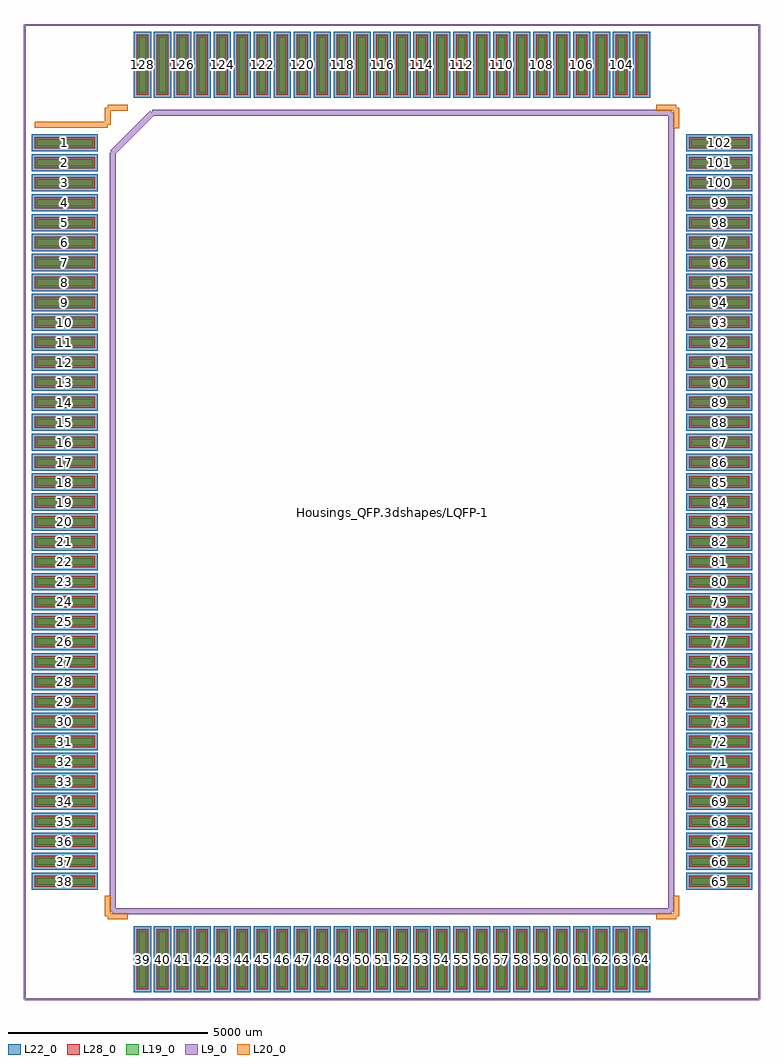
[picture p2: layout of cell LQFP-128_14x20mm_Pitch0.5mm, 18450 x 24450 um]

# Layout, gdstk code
import gdstk
lib = gdstk.Library(unit=1e-6, precision=1e-09)
def R(c, l, rs):  # rectangles x0, y0, x1, y1
    for r in rs: c.add(gdstk.rectangle(r[:2], r[2:], *l))
def A(c, l, x, y, w, h, nx, ny, dx, dy):  # array of equal rectangles
    R(c, l, [(x+i*dx, y+j*dy, x+i*dx+w, y+j*dy+h) for i in range(nx) for j in range(ny)])
L9_0 = (9, 0)
L19_0 = (19, 0)
L20_0 = (20, 0)
L22_0 = (22, 0)
L28_0 = (28, 0)

lqfp_128_14x20mm_pitch0_ = lib.new_cell('LQFP-128_14x20mm_Pitch0.5mm')
A(lqfp_128_14x20mm_pitch0_, L19_0, -6340, -11900, 180, 1400, 26, 2, 500, 22400)
A(lqfp_128_14x20mm_pitch0_, L19_0, -8900, -9340, 1400, 180, 1, 38, 0, 500)
A(lqfp_128_14x20mm_pitch0_, L19_0, 7500, -9340, 1400, 180, 1, 38, 0, 500)
A(lqfp_128_14x20mm_pitch0_, L22_0, -6465, -12025, 430, 1650, 26, 2, 500, 22400)
A(lqfp_128_14x20mm_pitch0_, L22_0, -9025, -9465, 1650, 430, 1, 38, 0, 500)
A(lqfp_128_14x20mm_pitch0_, L22_0, 7375, -9465, 1650, 430, 1, 38, 0, 500)
A(lqfp_128_14x20mm_pitch0_, L28_0, -6390, -11950, 280, 1500, 26, 2, 500, 22400)
A(lqfp_128_14x20mm_pitch0_, L28_0, -8950, -9390, 1500, 280, 1, 38, 0, 500)
A(lqfp_128_14x20mm_pitch0_, L28_0, 7450, -9390, 1500, 280, 1, 38, 0, 500)
lqfp_128_14x20mm_pitch0_.add(gdstk.FlexPath([(-7125,9700),(-8950,9700)], 149.998, ends="flush", simple_path=True, layer=20, datatype=0))  # L20_0
lqfp_128_14x20mm_pitch0_.add(gdstk.FlexPath([(7125,10125),(6615,10125)], 149.998, ends="flush", simple_path=True, layer=20, datatype=0))  # L20_0
lqfp_128_14x20mm_pitch0_.add(gdstk.FlexPath([(7125,-10125),(6615,-10125)], 149.998, ends="flush", simple_path=True, layer=20, datatype=0))  # L20_0
lqfp_128_14x20mm_pitch0_.add(gdstk.FlexPath([(-7125,-10125),(-6615,-10125)], 149.998, ends="flush", simple_path=True, layer=20, datatype=0))  # L20_0
lqfp_128_14x20mm_pitch0_.add(gdstk.FlexPath([(-7125,10125),(-6615,10125)], 149.998, ends="flush", simple_path=True, layer=20, datatype=0))  # L20_0
lqfp_128_14x20mm_pitch0_.add(gdstk.FlexPath([(-7125,-10125),(-7125,-9615)], 149.998, ends="flush", simple_path=True, layer=20, datatype=0))  # L20_0
lqfp_128_14x20mm_pitch0_.add(gdstk.FlexPath([(7125,-10125),(7125,-9615)], 149.998, ends="flush", simple_path=True, layer=20, datatype=0))  # L20_0
lqfp_128_14x20mm_pitch0_.add(gdstk.FlexPath([(7125,10125),(7125,9615)], 149.998, ends="flush", simple_path=True, layer=20, datatype=0))  # L20_0
lqfp_128_14x20mm_pitch0_.add(gdstk.FlexPath([(-7125,10125),(-7125,9700)], 149.998, ends="flush", simple_path=True, layer=20, datatype=0))  # L20_0
lqfp_128_14x20mm_pitch0_.add(gdstk.FlexPath([(-9200,-12200),(9200,-12200)], 50, ends="flush", simple_path=True, layer=9, datatype=0))  # L9_0
lqfp_128_14x20mm_pitch0_.add(gdstk.FlexPath([(-9200,12200),(9200,12200)], 50, ends="flush", simple_path=True, layer=9, datatype=0))  # L9_0
lqfp_128_14x20mm_pitch0_.add(gdstk.FlexPath([(9200,12200),(9200,-12200)], 50, ends="flush", simple_path=True, layer=9, datatype=0))  # L9_0
lqfp_128_14x20mm_pitch0_.add(gdstk.FlexPath([(-9200,12200),(-9200,-12200)], 50, ends="flush", simple_path=True, layer=9, datatype=0))  # L9_0
lqfp_128_14x20mm_pitch0_.add(gdstk.FlexPath([(-7000,9000),(-6000,10000)], 149.998, ends="flush", simple_path=True, layer=9, datatype=0))  # L9_0
lqfp_128_14x20mm_pitch0_.add(gdstk.FlexPath([(-7000,-10000),(-7000,9000)], 149.998, ends="flush", simple_path=True, layer=9, datatype=0))  # L9_0
lqfp_128_14x20mm_pitch0_.add(gdstk.FlexPath([(7000,-10000),(-7000,-10000)], 149.998, ends="flush", simple_path=True, layer=9, datatype=0))  # L9_0
lqfp_128_14x20mm_pitch0_.add(gdstk.FlexPath([(7000,10000),(7000,-10000)], 149.998, ends="flush", simple_path=True, layer=9, datatype=0))  # L9_0
lqfp_128_14x20mm_pitch0_.add(gdstk.FlexPath([(-6000,10000),(7000,10000)], 149.998, ends="flush", simple_path=True, layer=9, datatype=0))  # L9_0
lqfp_128_14x20mm_pitch0_.add(gdstk.Label('Housings_QFP.3dshapes/LQFP-128_14x20mm_Pitch0.5mm.wrl', (0,0), layer=12, texttype=0))
lqfp_128_14x20mm_pitch0_.add(gdstk.Label('128', (-6250,11200), layer=28, texttype=0))
lqfp_128_14x20mm_pitch0_.add(gdstk.Label('127', (-5750,11200), layer=28, texttype=0))
lqfp_128_14x20mm_pitch0_.add(gdstk.Label('126', (-5250,11200), layer=28, texttype=0))
lqfp_128_14x20mm_pitch0_.add(gdstk.Label('125', (-4750,11200), layer=28, texttype=0))
lqfp_128_14x20mm_pitch0_.add(gdstk.Label('124', (-4250,11200), layer=28, texttype=0))
lqfp_128_14x20mm_pitch0_.add(gdstk.Label('123', (-3750,11200), layer=28, texttype=0))
lqfp_128_14x20mm_pitch0_.add(gdstk.Label('122', (-3250,11200), layer=28, texttype=0))
lqfp_128_14x20mm_pitch0_.add(gdstk.Label('121', (-2750,11200), layer=28, texttype=0))
lqfp_128_14x20mm_pitch0_.add(gdstk.Label('120', (-2250,11200), layer=28, texttype=0))
lqfp_128_14x20mm_pitch0_.add(gdstk.Label('119', (-1750,11200), layer=28, texttype=0))
lqfp_128_14x20mm_pitch0_.add(gdstk.Label('118', (-1250,11200), layer=28, texttype=0))
lqfp_128_14x20mm_pitch0_.add(gdstk.Label('117', (-750,11200), layer=28, texttype=0))
lqfp_128_14x20mm_pitch0_.add(gdstk.Label('116', (-250,11200), layer=28, texttype=0))
lqfp_128_14x20mm_pitch0_.add(gdstk.Label('115', (250,11200), layer=28, texttype=0))
lqfp_128_14x20mm_pitch0_.add(gdstk.Label('114', (750,11200), layer=28, texttype=0))
lqfp_128_14x20mm_pitch0_.add(gdstk.Label('113', (1250,11200), layer=28, texttype=0))
lqfp_128_14x20mm_pitch0_.add(gdstk.Label('112', (1750,11200), layer=28, texttype=0))
lqfp_128_14x20mm_pitch0_.add(gdstk.Label('111', (2250,11200), layer=28, texttype=0))
lqfp_128_14x20mm_pitch0_.add(gdstk.Label('110', (2750,11200), layer=28, texttype=0))
lqfp_128_14x20mm_pitch0_.add(gdstk.Label('109', (3250,11200), layer=28, texttype=0))
lqfp_128_14x20mm_pitch0_.add(gdstk.Label('108', (3750,11200), layer=28, texttype=0))
lqfp_128_14x20mm_pitch0_.add(gdstk.Label('107', (4250,11200), layer=28, texttype=0))
lqfp_128_14x20mm_pitch0_.add(gdstk.Label('106', (4750,11200), layer=28, texttype=0))
lqfp_128_14x20mm_pitch0_.add(gdstk.Label('105', (5250,11200), layer=28, texttype=0))
lqfp_128_14x20mm_pitch0_.add(gdstk.Label('104', (5750,11200), layer=28, texttype=0))
lqfp_128_14x20mm_pitch0_.add(gdstk.Label('103', (6250,11200), layer=28, texttype=0))
lqfp_128_14x20mm_pitch0_.add(gdstk.Label('102', (8200,9250), layer=28, texttype=0))
lqfp_128_14x20mm_pitch0_.add(gdstk.Label('101', (8200,8750), layer=28, texttype=0))
lqfp_128_14x20mm_pitch0_.add(gdstk.Label('100', (8200,8250), layer=28, texttype=0))
lqfp_128_14x20mm_pitch0_.add(gdstk.Label('99', (8200,7750), layer=28, texttype=0))
lqfp_128_14x20mm_pitch0_.add(gdstk.Label('98', (8200,7250), layer=28, texttype=0))
lqfp_128_14x20mm_pitch0_.add(gdstk.Label('97', (8200,6750), layer=28, texttype=0))
lqfp_128_14x20mm_pitch0_.add(gdstk.Label('96', (8200,6250), layer=28, texttype=0))
lqfp_128_14x20mm_pitch0_.add(gdstk.Label('95', (8200,5750), layer=28, texttype=0))
lqfp_128_14x20mm_pitch0_.add(gdstk.Label('94', (8200,5250), layer=28, texttype=0))
lqfp_128_14x20mm_pitch0_.add(gdstk.Label('93', (8200,4750), layer=28, texttype=0))
lqfp_128_14x20mm_pitch0_.add(gdstk.Label('92', (8200,4250), layer=28, texttype=0))
lqfp_128_14x20mm_pitch0_.add(gdstk.Label('91', (8200,3750), layer=28, texttype=0))
lqfp_128_14x20mm_pitch0_.add(gdstk.Label('90', (8200,3250), layer=28, texttype=0))
lqfp_128_14x20mm_pitch0_.add(gdstk.Label('89', (8200,2750), layer=28, texttype=0))
lqfp_128_14x20mm_pitch0_.add(gdstk.Label('88', (8200,2250), layer=28, texttype=0))
lqfp_128_14x20mm_pitch0_.add(gdstk.Label('87', (8200,1750), layer=28, texttype=0))
lqfp_128_14x20mm_pitch0_.add(gdstk.Label('86', (8200,1250), layer=28, texttype=0))
lqfp_128_14x20mm_pitch0_.add(gdstk.Label('85', (8200,750), layer=28, texttype=0))
lqfp_128_14x20mm_pitch0_.add(gdstk.Label('84', (8200,250), layer=28, texttype=0))
lqfp_128_14x20mm_pitch0_.add(gdstk.Label('83', (8200,-250), layer=28, texttype=0))
lqfp_128_14x20mm_pitch0_.add(gdstk.Label('82', (8200,-750), layer=28, texttype=0))
lqfp_128_14x20mm_pitch0_.add(gdstk.Label('81', (8200,-1250), layer=28, texttype=0))
lqfp_128_14x20mm_pitch0_.add(gdstk.Label('80', (8200,-1750), layer=28, texttype=0))
lqfp_128_14x20mm_pitch0_.add(gdstk.Label('79', (8200,-2250), layer=28, texttype=0))
lqfp_128_14x20mm_pitch0_.add(gdstk.Label('78', (8200,-2750), layer=28, texttype=0))
lqfp_128_14x20mm_pitch0_.add(gdstk.Label('77', (8200,-3250), layer=28, texttype=0))
lqfp_128_14x20mm_pitch0_.add(gdstk.Label('76', (8200,-3750), layer=28, texttype=0))
lqfp_128_14x20mm_pitch0_.add(gdstk.Label('75', (8200,-4250), layer=28, texttype=0))
lqfp_128_14x20mm_pitch0_.add(gdstk.Label('74', (8200,-4750), layer=28, texttype=0))
lqfp_128_14x20mm_pitch0_.add(gdstk.Label('73', (8200,-5250), layer=28, texttype=0))
lqfp_128_14x20mm_pitch0_.add(gdstk.Label('72', (8200,-5750), layer=28, texttype=0))
lqfp_128_14x20mm_pitch0_.add(gdstk.Label('71', (8200,-6250), layer=28, texttype=0))
lqfp_128_14x20mm_pitch0_.add(gdstk.Label('70', (8200,-6750), layer=28, texttype=0))
lqfp_128_14x20mm_pitch0_.add(gdstk.Label('69', (8200,-7250), layer=28, texttype=0))
lqfp_128_14x20mm_pitch0_.add(gdstk.Label('68', (8200,-7750), layer=28, texttype=0))
lqfp_128_14x20mm_pitch0_.add(gdstk.Label('67', (8200,-8250), layer=28, texttype=0))
lqfp_128_14x20mm_pitch0_.add(gdstk.Label('66', (8200,-8750), layer=28, texttype=0))
lqfp_128_14x20mm_pitch0_.add(gdstk.Label('65', (8200,-9250), layer=28, texttype=0))
lqfp_128_14x20mm_pitch0_.add(gdstk.Label('64', (6250,-11200), layer=28, texttype=0))
lqfp_128_14x20mm_pitch0_.add(gdstk.Label('63', (5750,-11200), layer=28, texttype=0))
lqfp_128_14x20mm_pitch0_.add(gdstk.Label('62', (5250,-11200), layer=28, texttype=0))
lqfp_128_14x20mm_pitch0_.add(gdstk.Label('61', (4750,-11200), layer=28, texttype=0))
lqfp_128_14x20mm_pitch0_.add(gdstk.Label('60', (4250,-11200), layer=28, texttype=0))
lqfp_128_14x20mm_pitch0_.add(gdstk.Label('59', (3750,-11200), layer=28, texttype=0))
lqfp_128_14x20mm_pitch0_.add(gdstk.Label('58', (3250,-11200), layer=28, texttype=0))
lqfp_128_14x20mm_pitch0_.add(gdstk.Label('57', (2750,-11200), layer=28, texttype=0))
lqfp_128_14x20mm_pitch0_.add(gdstk.Label('56', (2250,-11200), layer=28, texttype=0))
lqfp_128_14x20mm_pitch0_.add(gdstk.Label('55', (1750,-11200), layer=28, texttype=0))
lqfp_128_14x20mm_pitch0_.add(gdstk.Label('54', (1250,-11200), layer=28, texttype=0))
lqfp_128_14x20mm_pitch0_.add(gdstk.Label('53', (750,-11200), layer=28, texttype=0))
lqfp_128_14x20mm_pitch0_.add(gdstk.Label('52', (250,-11200), layer=28, texttype=0))
lqfp_128_14x20mm_pitch0_.add(gdstk.Label('51', (-250,-11200), layer=28, texttype=0))
lqfp_128_14x20mm_pitch0_.add(gdstk.Label('50', (-750,-11200), layer=28, texttype=0))
lqfp_128_14x20mm_pitch0_.add(gdstk.Label('49', (-1250,-11200), layer=28, texttype=0))
lqfp_128_14x20mm_pitch0_.add(gdstk.Label('48', (-1750,-11200), layer=28, texttype=0))
lqfp_128_14x20mm_pitch0_.add(gdstk.Label('47', (-2250,-11200), layer=28, texttype=0))
lqfp_128_14x20mm_pitch0_.add(gdstk.Label('46', (-2750,-11200), layer=28, texttype=0))
lqfp_128_14x20mm_pitch0_.add(gdstk.Label('45', (-3250,-11200), layer=28, texttype=0))
lqfp_128_14x20mm_pitch0_.add(gdstk.Label('44', (-3750,-11200), layer=28, texttype=0))
lqfp_128_14x20mm_pitch0_.add(gdstk.Label('43', (-4250,-11200), layer=28, texttype=0))
lqfp_128_14x20mm_pitch0_.add(gdstk.Label('42', (-4750,-11200), layer=28, texttype=0))
lqfp_128_14x20mm_pitch0_.add(gdstk.Label('41', (-5250,-11200), layer=28, texttype=0))
lqfp_128_14x20mm_pitch0_.add(gdstk.Label('40', (-5750,-11200), layer=28, texttype=0))
lqfp_128_14x20mm_pitch0_.add(gdstk.Label('39', (-6250,-11200), layer=28, texttype=0))
lqfp_128_14x20mm_pitch0_.add(gdstk.Label('38', (-8200,-9250), layer=28, texttype=0))
lqfp_128_14x20mm_pitch0_.add(gdstk.Label('37', (-8200,-8750), layer=28, texttype=0))
lqfp_128_14x20mm_pitch0_.add(gdstk.Label('36', (-8200,-8250), layer=28, texttype=0))
lqfp_128_14x20mm_pitch0_.add(gdstk.Label('35', (-8200,-7750), layer=28, texttype=0))
lqfp_128_14x20mm_pitch0_.add(gdstk.Label('34', (-8200,-7250), layer=28, texttype=0))
lqfp_128_14x20mm_pitch0_.add(gdstk.Label('33', (-8200,-6750), layer=28, texttype=0))
lqfp_128_14x20mm_pitch0_.add(gdstk.Label('32', (-8200,-6250), layer=28, texttype=0))
lqfp_128_14x20mm_pitch0_.add(gdstk.Label('31', (-8200,-5750), layer=28, texttype=0))
lqfp_128_14x20mm_pitch0_.add(gdstk.Label('30', (-8200,-5250), layer=28, texttype=0))
lqfp_128_14x20mm_pitch0_.add(gdstk.Label('29', (-8200,-4750), layer=28, texttype=0))
lqfp_128_14x20mm_pitch0_.add(gdstk.Label('28', (-8200,-4250), layer=28, texttype=0))
lqfp_128_14x20mm_pitch0_.add(gdstk.Label('27', (-8200,-3750), layer=28, texttype=0))
lqfp_128_14x20mm_pitch0_.add(gdstk.Label('26', (-8200,-3250), layer=28, texttype=0))
lqfp_128_14x20mm_pitch0_.add(gdstk.Label('25', (-8200,-2750), layer=28, texttype=0))
lqfp_128_14x20mm_pitch0_.add(gdstk.Label('24', (-8200,-2250), layer=28, texttype=0))
lqfp_128_14x20mm_pitch0_.add(gdstk.Label('23', (-8200,-1750), layer=28, texttype=0))
lqfp_128_14x20mm_pitch0_.add(gdstk.Label('22', (-8200,-1250), layer=28, texttype=0))
lqfp_128_14x20mm_pitch0_.add(gdstk.Label('21', (-8200,-750), layer=28, texttype=0))
lqfp_128_14x20mm_pitch0_.add(gdstk.Label('20', (-8200,-250), layer=28, texttype=0))
lqfp_128_14x20mm_pitch0_.add(gdstk.Label('19', (-8200,250), layer=28, texttype=0))
lqfp_128_14x20mm_pitch0_.add(gdstk.Label('18', (-8200,750), layer=28, texttype=0))
lqfp_128_14x20mm_pitch0_.add(gdstk.Label('17', (-8200,1250), layer=28, texttype=0))
lqfp_128_14x20mm_pitch0_.add(gdstk.Label('16', (-8200,1750), layer=28, texttype=0))
lqfp_128_14x20mm_pitch0_.add(gdstk.Label('15', (-8200,2250), layer=28, texttype=0))
lqfp_128_14x20mm_pitch0_.add(gdstk.Label('14', (-8200,2750), layer=28, texttype=0))
lqfp_128_14x20mm_pitch0_.add(gdstk.Label('13', (-8200,3250), layer=28, texttype=0))
lqfp_128_14x20mm_pitch0_.add(gdstk.Label('12', (-8200,3750), layer=28, texttype=0))
lqfp_128_14x20mm_pitch0_.add(gdstk.Label('11', (-8200,4250), layer=28, texttype=0))
lqfp_128_14x20mm_pitch0_.add(gdstk.Label('10', (-8200,4750), layer=28, texttype=0))
lqfp_128_14x20mm_pitch0_.add(gdstk.Label('9', (-8200,5250), layer=28, texttype=0))
lqfp_128_14x20mm_pitch0_.add(gdstk.Label('8', (-8200,5750), layer=28, texttype=0))
lqfp_128_14x20mm_pitch0_.add(gdstk.Label('7', (-8200,6250), layer=28, texttype=0))
lqfp_128_14x20mm_pitch0_.add(gdstk.Label('6', (-8200,6750), layer=28, texttype=0))
lqfp_128_14x20mm_pitch0_.add(gdstk.Label('5', (-8200,7250), layer=28, texttype=0))
lqfp_128_14x20mm_pitch0_.add(gdstk.Label('4', (-8200,7750), layer=28, texttype=0))
lqfp_128_14x20mm_pitch0_.add(gdstk.Label('3', (-8200,8250), layer=28, texttype=0))
lqfp_128_14x20mm_pitch0_.add(gdstk.Label('2', (-8200,8750), layer=28, texttype=0))
lqfp_128_14x20mm_pitch0_.add(gdstk.Label('1', (-8200,9250), layer=28, texttype=0))
lqfp_128_14x20mm_pitch0_.add(gdstk.Label('%R', (0,0), layer=9, texttype=0))
lqfp_128_14x20mm_pitch0_.add(gdstk.Label('type', (0,-12950), layer=9, texttype=0))
lqfp_128_14x20mm_pitch0_.add(gdstk.Label('devicename', (0,12950), layer=9, texttype=0))

lib.write_gds('LQFP-128_14x20mm_Pitch0.5mm.gds')
